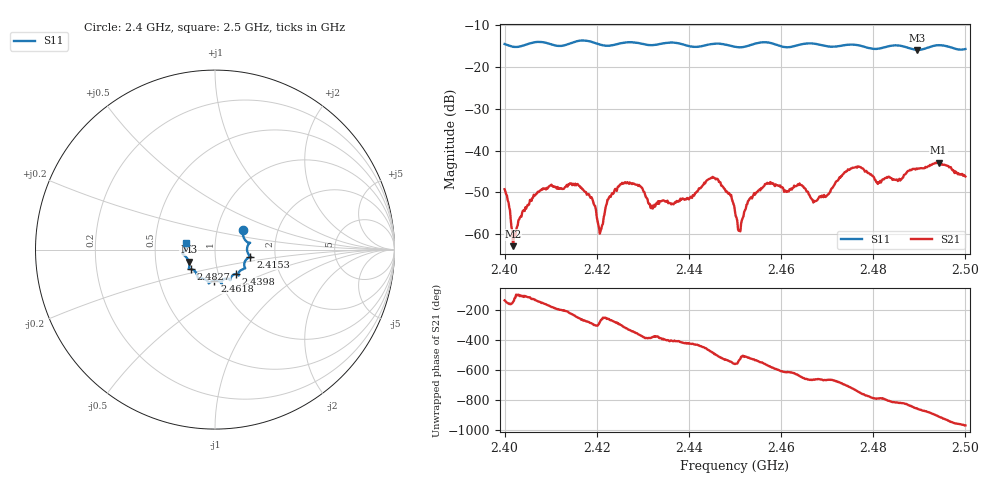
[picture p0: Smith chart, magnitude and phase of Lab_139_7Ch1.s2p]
# Hz S RI R 50
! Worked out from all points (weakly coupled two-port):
!   601 points, 2.4 GHz to 2.5 GHz, reference 50 ohm
!   highest |S21| = -42.91 dB at 2.4942 GHz (marker M1); lowest = -62.9 dB at 2.4018 GHz (marker M2)
!   lowest |S11| = -15.9 dB at 2.4895 GHz (marker M3), VSWR 1.38, Z = 37 - j5.04 ohm
!   |S11| at or under -10 dB: start of sweep to end of sweep
!   S12 and S22 are empty: the file has one direction only
!   S11 on the Smith chart (normalised r, x): 2.4 GHz: 1.33, +0.29; 2.4153 GHz: 1.48, -0.12; 2.4398 GHz: 1.21, -0.34; 2.4618 GHz: 0.94, -0.33; 2.4827 GHz: 0.75, -0.17; 2.5 GHz: 0.72, +0.06
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2.4e9  0.1552 0.1065  -0.00236 -0.0025  0 0  0 0
2.401833e9  0.1567 0.0767  -0.00057 -0.000434  0 0  0 0
2.4075e9  0.1957 0.0383  -0.00252 -0.002  0 0  0 0
2.415333e9  0.1969 -0.039  -0.00212 0.00341  0 0  0 0
2.416667e9  0.2027 -0.0432  -0.000454 0.00355  0 0  0 0
2.420833e9  0.1769 -0.0519  -4.41e-05 0.00109  0 0  0 0
2.422667e9  0.1644 -0.0724  -0.000602 0.00268  0 0  0 0
2.425667e9  0.1663 -0.1004  0.00239 0.00321  0 0  0 0
2.433333e9  0.1299 -0.1338  0.0024 -0.000639  0 0  0 0
2.439833e9  0.1155 -0.1361  0.00127 -0.0023  0 0  0 0
2.445667e9  0.0838 -0.1704  -0.00301 -0.00352  0 0  0 0
2.45e9  0.0652 -0.1618  -0.00177 0.000562  0 0  0 0
2.451e9  0.054 -0.1631  -0.00108 -0.000208  0 0  0 0
2.4565e9  0.039 -0.1938  -0.0038 0.00113  0 0  0 0
2.461833e9  -0.00314 -0.1728  -0.00107 0.00326  0 0  0 0
2.466667e9  -0.0348 -0.188  0.00147 0.00215  0 0  0 0
2.475833e9  -0.095 -0.1583  0.00622 -0.000603  0 0  0 0
2.482667e9  -0.1348 -0.1087  0.00128 -0.00451  0 0  0 0
2.483333e9  -0.14 -0.1083  0.000709 -0.00481  0 0  0 0
2.4895e9  -0.1458 -0.0664  -0.00414 -0.00434  0 0  0 0
2.494167e9  -0.181 -0.0217  -0.0071 0.000876  0 0  0 0
2.5e9  -0.1593 0.0387  -0.00198 0.00447  0 0  0 0
